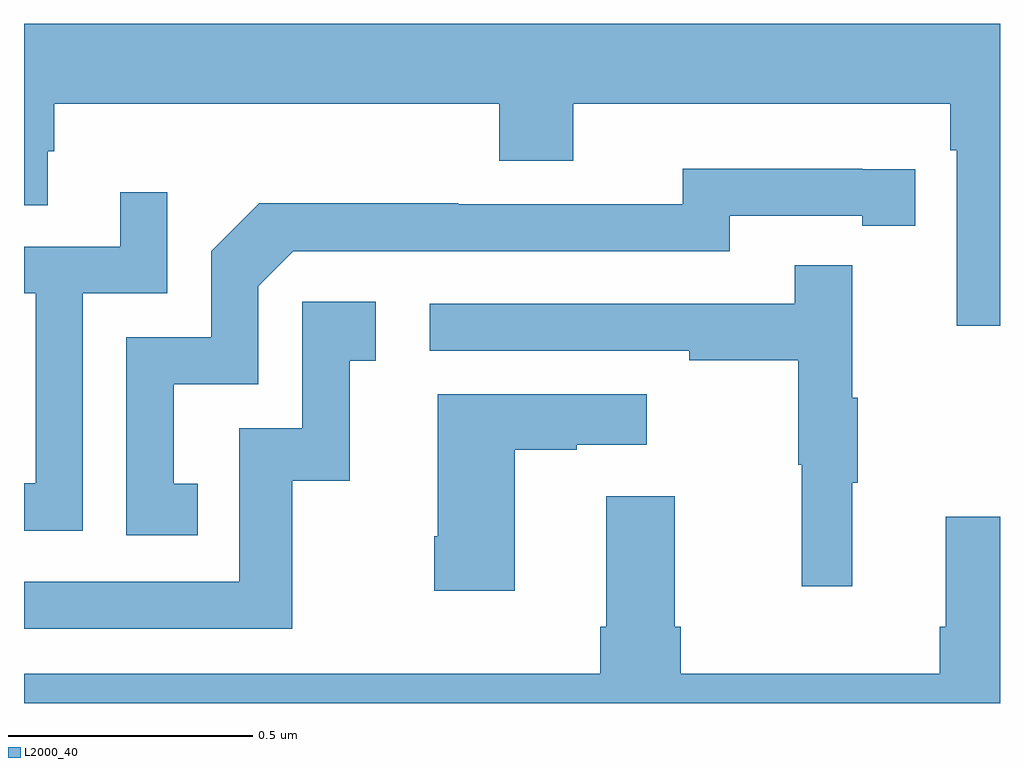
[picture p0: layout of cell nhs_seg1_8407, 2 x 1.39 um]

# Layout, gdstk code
import gdstk
lib = gdstk.Library(unit=1e-6, precision=1e-09)
def P(c, l, *ps):  # polygons
    for p in ps: c.add(gdstk.Polygon(p, *l))
L2000_40 = (2000, 40)

nhs_seg1_8407 = lib.new_cell('nhs_seg1_8407')
P(nhs_seg1_8407, L2000_40, [(218,522.592),(216,522.592),(216,522.22),(216.049,522.22),(216.049,522.33),(216.062,522.33),(216.062,522.428),(216.974,522.428),(216.974,522.311),(217.126,522.311),(217.126,522.428),(217.898,522.428),(217.898,522.332),(217.911,522.332),(217.911,521.973),(218,521.973)],
  [(216.356,521.649),(216.307,521.649),(216.307,521.853),(216.48,521.853),(216.48,522.054),(216.552,522.126),(217.446,522.126),(217.446,522.198),(217.718,522.198),(217.718,522.178),(217.826,522.178),(217.826,522.294),(217.718,522.294),(217.718,522.295),(217.35,522.295),(217.35,522.222),(216.89,522.222),(216.89,522.224),(216.482,522.224),(216.384,522.126),(216.384,521.949),(216.21,521.949),(216.21,521.544),(216.356,521.544)],
  [(216.12,522.039),(216.294,522.039),(216.294,522.246),(216.197,522.246),(216.197,522.135),(216,522.135),(216,522.039),(216.024,522.039),(216.024,521.65),(216,521.65),(216,521.553),(216.12,521.553)],
  [(217.697,521.651),(217.708,521.651),(217.708,521.825),(217.697,521.825),(217.697,522.097),(217.579,522.097),(217.579,522.018),(216.831,522.018),(216.831,521.922),(217.363,521.922),(217.363,521.902),(217.587,521.902),(217.587,521.688),(217.594,521.688),(217.594,521.439),(217.697,521.439)],
  [(216.55,521.655),(216.668,521.655),(216.668,521.901),(216.721,521.901),(216.721,522.022),(216.57,522.022),(216.57,521.763),(216.441,521.763),(216.441,521.448),(216,521.448),(216,521.352),(216.55,521.352)],
  [(217.006,521.719),(217.133,521.719),(217.133,521.729),(217.276,521.729),(217.276,521.833),(216.848,521.833),(216.848,521.542),(216.841,521.542),(216.841,521.43),(217.006,521.43)],
  [(218,521.581),(217.889,521.581),(217.889,521.356),(217.877,521.356),(217.877,521.26),(217.346,521.26),(217.346,521.356),(217.333,521.356),(217.333,521.623),(217.193,521.623),(217.193,521.356),(217.181,521.356),(217.181,521.26),(216,521.26),(216,521.199),(218,521.199)])

lib.write_gds('nhs_seg1_8407.gds')
